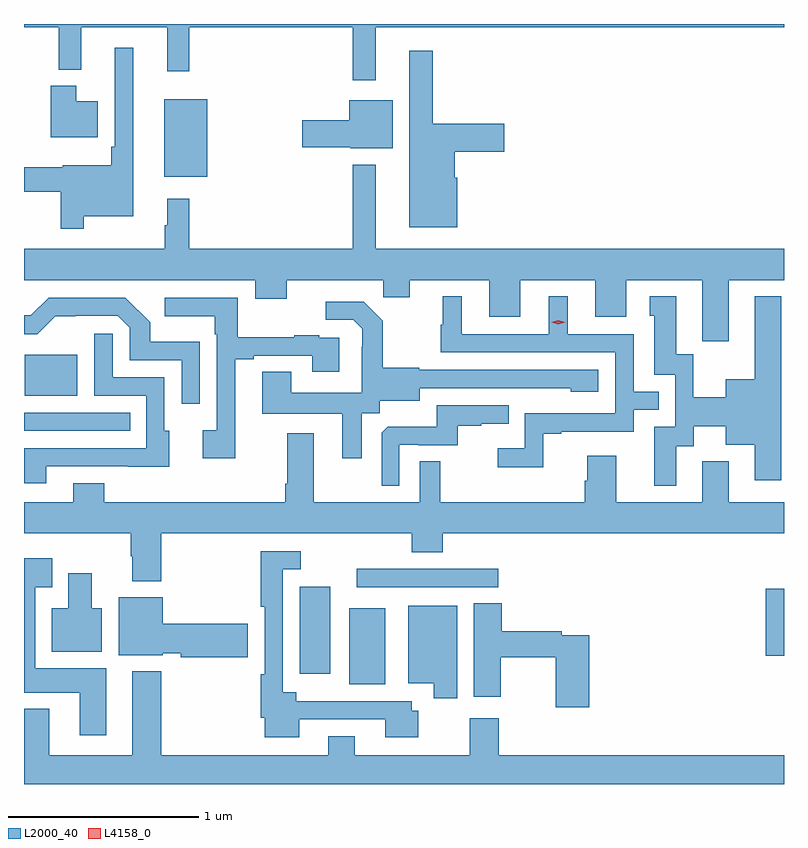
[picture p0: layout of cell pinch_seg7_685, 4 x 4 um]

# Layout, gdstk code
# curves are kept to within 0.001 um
import gdstk
lib = gdstk.Library(unit=1e-6, precision=1e-09)
def R(c, l, rs):  # rectangles x0, y0, x1, y1
    for r in rs: c.add(gdstk.rectangle(r[:2], r[2:], *l))
def P(c, l, *ps):  # polygons
    for p in ps: c.add(gdstk.Polygon(p, *l))
L2000_40 = (2000, 40)
L4158_0 = (4158, 0)

pinch_seg7_685 = lib.new_cell('pinch_seg7_685')
R(pinch_seg7_685, L2000_40, [(315.878,1015.805,316.066,1016.206), (315.617,1015.86,315.778,1016.317), (318.068,1015.955,318.165,1016.308), (315.915,1016.316,316.66,1016.412), (314.165,1017.138,314.723,1017.234), (314.168,1017.323,314.446,1017.538), (314.903,1018.475,315.13,1018.885)])
P(pinch_seg7_685, L2000_40, [(316.015,1019.264),(318.165,1019.264),(318.165,1019.28),(314.165,1019.28),(314.165,1019.264),(314.347,1019.264),(314.347,1019.039),(314.465,1019.039),(314.465,1019.264),(314.918,1019.264),(314.918,1019.031),(315.035,1019.031),(315.035,1019.264),(315.894,1019.264),(315.894,1018.983),(316.015,1018.983)],
  [(314.479,1018.268),(314.74,1018.268),(314.74,1019.155),(314.643,1019.155),(314.643,1018.633),(314.623,1018.633),(314.623,1018.537),(314.369,1018.537),(314.369,1018.526),(314.165,1018.526),(314.165,1018.398),(314.358,1018.398),(314.358,1018.203),(314.479,1018.203)],
  [(316.444,1018.47),(316.432,1018.47),(316.432,1018.607),(316.693,1018.607),(316.693,1018.754),(316.315,1018.754),(316.315,1019.14),(316.193,1019.14),(316.193,1018.211),(316.444,1018.211)],
  [(314.554,1018.873),(314.44,1018.873),(314.44,1018.954),(314.306,1018.954),(314.306,1018.685),(314.554,1018.685)],
  [(316.105,1018.879),(315.878,1018.879),(315.878,1018.773),(315.63,1018.773),(315.63,1018.631),(315.882,1018.631),(315.882,1018.625),(316.105,1018.625)],
  [(317.875,1017.932),(318.165,1017.932),(318.165,1018.096),(316.015,1018.096),(316.015,1018.54),(315.894,1018.54),(315.894,1018.096),(315.035,1018.096),(315.035,1018.36),(314.918,1018.36),(314.918,1018.22),(314.907,1018.22),(314.907,1018.096),(314.165,1018.096),(314.165,1017.932),(315.383,1017.932),(315.383,1017.833),(315.547,1017.833),(315.547,1017.932),(316.057,1017.932),(316.057,1017.842),(316.195,1017.842),(316.195,1017.932),(316.613,1017.932),(316.613,1017.738),(316.777,1017.738),(316.777,1017.932),(317.171,1017.932),(317.171,1017.738),(317.335,1017.738),(317.335,1017.932),(317.735,1017.932),(317.735,1017.721),(317.736,1017.721),(317.736,1017.609),(317.875,1017.609)],
  [(316.899,1017.123),(316.993,1017.123),(316.993,1017.135),(317.373,1017.135),(317.373,1017.249),(317.507,1017.249),(317.507,1017.345),(317.373,1017.345),(317.373,1017.648),(317.026,1017.648),(317.026,1017.847),(316.928,1017.847),(316.928,1017.648),(316.468,1017.648),(316.468,1017.847),(316.37,1017.847),(316.37,1017.696),(316.359,1017.696),(316.359,1017.552),(317.277,1017.552),(317.277,1017.231),(316.8,1017.231),(316.8,1017.046),(316.659,1017.046),(316.659,1016.948),(316.899,1016.948)],
  [(317.599,1017.058),(317.689,1017.058),(317.689,1017.164),(317.858,1017.164),(317.858,1017.065),(318.011,1017.065),(318.011,1016.88),(318.151,1016.88),(318.151,1017.847),(318.011,1017.847),(318.011,1017.409),(317.858,1017.409),(317.858,1017.316),(317.688,1017.316),(317.688,1017.543),(317.599,1017.543),(317.599,1017.847),(317.459,1017.847),(317.459,1017.744),(317.483,1017.744),(317.483,1017.435),(317.592,1017.435),(317.592,1017.159),(317.483,1017.159),(317.483,1016.85),(317.599,1016.85)],
  [(315.09,1017.607),(314.829,1017.607),(314.829,1017.71),(314.698,1017.84),(314.295,1017.84),(314.201,1017.746),(314.165,1017.746),(314.165,1017.648),(314.235,1017.648),(314.33,1017.743),(314.658,1017.744),(314.721,1017.681),(314.721,1017.51),(314.994,1017.51),(314.994,1017.282),(315.09,1017.282)],
  [(315.277,1017.516),(315.373,1017.516),(315.373,1017.534),(315.683,1017.534),(315.683,1017.45),(315.823,1017.45),(315.823,1017.63),(315.719,1017.63),(315.719,1017.643),(315.587,1017.643),(315.587,1017.632),(315.289,1017.632),(315.289,1017.84),(314.907,1017.84),(314.907,1017.743),(315.168,1017.743),(315.168,1017.647),(315.18,1017.647),(315.18,1017.142),(315.105,1017.142),(315.105,1016.994),(315.277,1016.994)],
  [(315.943,1017.232),(316.038,1017.232),(316.038,1017.296),(316.249,1017.296),(316.249,1017.363),(317.043,1017.362),(317.043,1017.344),(317.188,1017.344),(317.188,1017.459),(316.245,1017.459),(316.245,1017.472),(316.053,1017.472),(316.053,1017.717),(315.953,1017.817),(315.753,1017.817),(315.753,1017.723),(315.897,1017.723),(315.944,1017.676),(315.944,1017.581),(315.942,1017.581),(315.942,1017.34),(315.571,1017.34),(315.571,1017.449),(315.419,1017.449),(315.419,1017.23),(315.839,1017.23),(315.839,1016.994),(315.943,1016.994)],
  [(314.281,1016.952),(314.711,1016.952),(314.711,1016.951),(314.929,1016.951),(314.929,1017.138),(314.904,1017.138),(314.904,1017.42),(314.631,1017.42),(314.631,1017.649),(314.535,1017.649),(314.535,1017.324),(314.808,1017.324),(314.808,1017.048),(314.165,1017.048),(314.165,1016.862),(314.281,1016.862)],
  [(316.14,1017.066),(316.24,1017.066),(316.24,1017.063),(316.448,1017.063),(316.448,1017.165),(316.571,1017.165),(316.571,1017.176),(316.715,1017.176),(316.715,1017.273),(316.338,1017.273),(316.338,1017.161),(316.079,1017.161),(316.047,1017.129),(316.047,1016.849),(316.14,1016.849)],
  [(314.888,1016.6),(316.205,1016.6),(316.205,1016.501),(316.37,1016.501),(316.37,1016.6),(318.165,1016.6),(318.165,1016.764),(317.875,1016.764),(317.875,1016.98),(317.735,1016.98),(317.735,1016.764),(317.281,1016.764),(317.281,1017.007),(317.129,1017.007),(317.129,1016.877),(317.117,1016.877),(317.117,1016.764),(316.357,1016.764),(316.357,1016.978),(316.248,1016.978),(316.248,1016.764),(315.691,1016.764),(315.691,1017.127),(315.551,1017.127),(315.551,1016.86),(315.539,1016.86),(315.539,1016.764),(314.587,1016.764),(314.587,1016.863),(314.423,1016.863),(314.423,1016.764),(314.165,1016.764),(314.165,1016.6),(314.728,1016.6),(314.728,1016.48),(314.735,1016.48),(314.735,1016.348),(314.888,1016.348)],
  [(315.613,1015.62),(316.067,1015.62),(316.067,1015.526),(316.24,1015.526),(316.24,1015.666),(316.207,1015.666),(316.207,1015.716),(315.598,1015.716),(315.598,1015.762),(315.528,1015.762),(315.528,1016.409),(315.622,1016.409),(315.622,1016.505),(315.412,1016.505),(315.412,1016.212),(315.432,1016.212),(315.432,1015.858),(315.412,1015.858),(315.412,1015.63),(315.431,1015.63),(315.431,1015.526),(315.613,1015.526)],
  [(314.599,1015.888),(314.224,1015.888),(314.224,1016.315),(314.314,1016.315),(314.314,1016.467),(314.165,1016.467),(314.165,1015.76),(314.459,1015.76),(314.459,1015.536),(314.599,1015.536)],
  [(314.575,1016.206),(314.521,1016.206),(314.521,1016.389),(314.399,1016.389),(314.399,1016.206),(314.312,1016.206),(314.312,1015.976),(314.575,1015.976)],
  [(315.343,1016.124),(314.896,1016.124),(314.896,1016.263),(314.663,1016.263),(314.663,1015.958),(314.896,1015.958),(314.896,1015.969),(314.99,1015.969),(314.99,1015.946),(315.343,1015.946)],
  [(317.141,1016.064),(316.994,1016.064),(316.994,1016.084),(316.679,1016.084),(316.679,1016.231),(316.532,1016.231),(316.532,1015.74),(316.674,1015.74),(316.674,1015.948),(316.963,1015.948),(316.963,1015.683),(317.141,1015.683)],
  [(316.444,1016.218),(316.187,1016.218),(316.187,1015.811),(316.322,1015.811),(316.322,1015.731),(316.444,1015.731)],
  [(318.165,1015.432),(316.664,1015.432),(316.664,1015.627),(316.511,1015.627),(316.511,1015.432),(315.907,1015.432),(315.907,1015.531),(315.767,1015.531),(315.767,1015.432),(314.888,1015.432),(314.888,1015.873),(314.735,1015.873),(314.735,1015.432),(314.299,1015.432),(314.299,1015.675),(314.165,1015.675),(314.165,1015.28),(318.165,1015.28)])
P(pinch_seg7_685, L4158_0, [(316.977,1017.7),(316.942,1017.709),(316.941,1017.71),(316.942,1017.71),(316.977,1017.72),(317.013,1017.711),(317.013,1017.711),(317.013,1017.711)])

lib.write_gds('pinch_seg7_685.gds')
